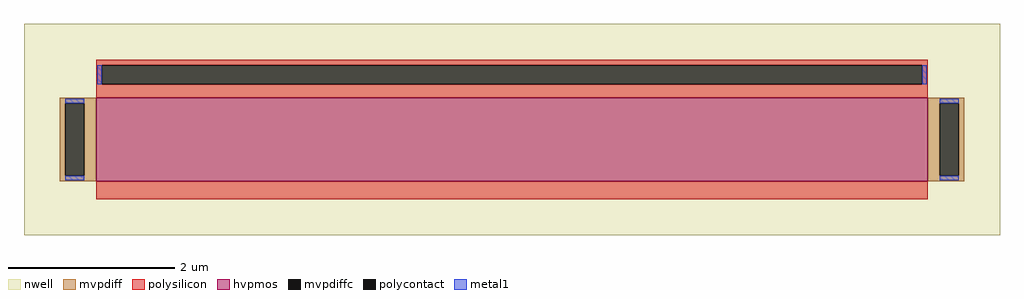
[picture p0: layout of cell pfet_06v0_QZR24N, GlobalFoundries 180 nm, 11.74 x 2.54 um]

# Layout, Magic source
magic
tech gf180mcuD
magscale 1 10
<< nwell >>
rect -1174 -254 1174 254
<< hvpmos >>
rect -1000 -124 1000 76
<< mvpdiff >>
rect -1088 63 -1000 76
rect -1088 -111 -1075 63
rect -1029 -111 -1000 63
rect -1088 -124 -1000 -111
rect 1000 63 1088 76
rect 1000 -111 1029 63
rect 1075 -111 1088 63
rect 1000 -124 1088 -111
<< mvpdiffc >>
rect -1075 -111 -1029 63
rect 1029 -111 1075 63
<< polysilicon >>
rect -1000 155 1000 168
rect -1000 109 -987 155
rect 987 109 1000 155
rect -1000 76 1000 109
rect -1000 -168 1000 -124
<< polycontact >>
rect -987 109 987 155
<< metal1 >>
rect -998 109 -987 155
rect 987 109 998 155
rect -1075 63 -1029 74
rect -1075 -122 -1029 -111
rect 1029 63 1075 74
rect 1029 -122 1075 -111
<< properties >>
string gencell pfet_06v0
string library gf180mcu
string parameters w 1 l 10 m 1 nf 1 diffcov 100 polycov 100 guard 0 glc 0 grc 0 gtc 0 gbc 0 tbcov 100 rlcov 100 topc 1 botc 0 poverlap 0 doverlap 1 lmin 0.55 wmin 0.3 class mosfet full_metal 0 compatible {pfet_03v3 pfet_05v0 pfet_06v0}
<< end >>
